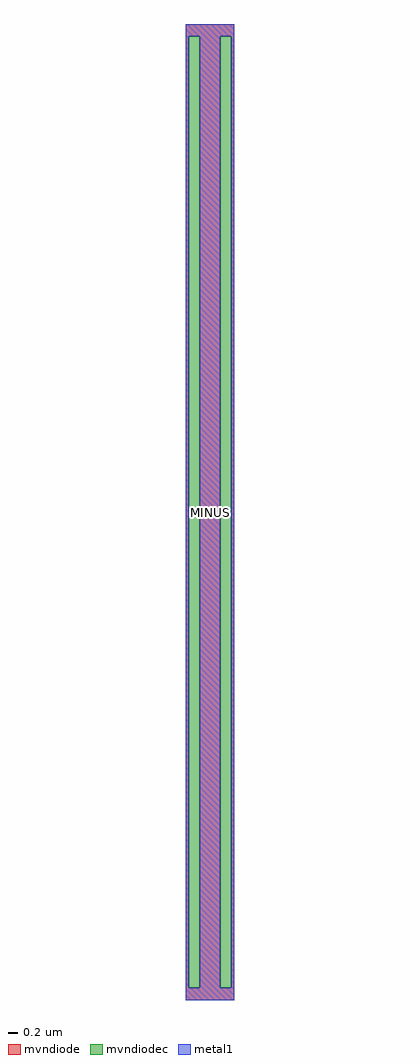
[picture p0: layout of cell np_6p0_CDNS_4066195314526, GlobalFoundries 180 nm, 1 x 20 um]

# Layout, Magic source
magic
tech gf180mcuD
magscale 1 10
<< mvndiode >>
rect 0 3950 200 4000
rect 0 50 13 3950
rect 59 50 141 3950
rect 187 50 200 3950
rect 0 0 200 50
<< mvndiodec >>
rect 13 50 59 3950
rect 141 50 187 3950
<< metal1 >>
rect 0 3950 200 4000
rect 0 50 13 3950
rect 59 50 141 3950
rect 187 50 200 3950
rect 0 0 200 50
<< labels >>
rlabel metal1 100 2000 100 2000 4 MINUS
<< end >>
